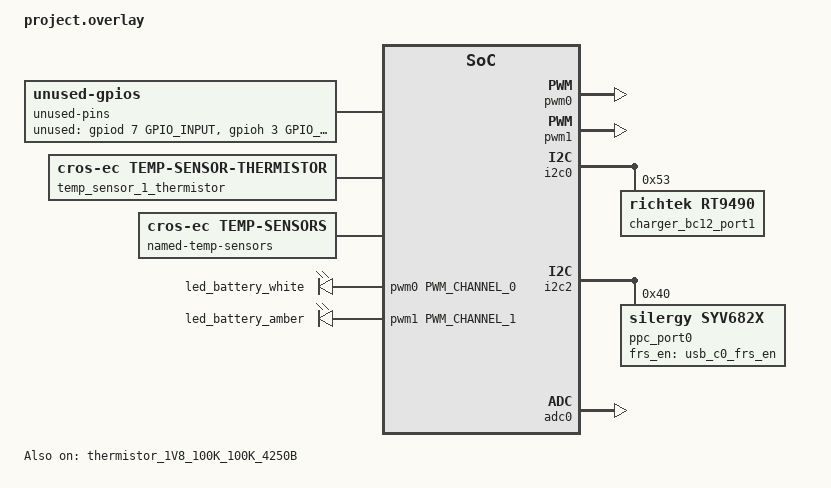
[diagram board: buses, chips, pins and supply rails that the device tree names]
/* Copyright 2023 The ChromiumOS Authors
 * Use of this source code is governed by a BSD-style license that can be
 * found in the LICENSE file.
 */

/* Corsola program common DTS includes */

#include "../common.dtsi"
#include "../power_signal.dtsi"
#include "../usba.dtsi"
#include "../ite_adc.dtsi"
#include "../ite_gpio.dtsi"
#include "../ite_keyboard.dtsi"
#include "../ite_i2c.dtsi"
#include "../ite_interrupts.dtsi"
/*Chinchou and Kingler use the same motionsense */
#include "../npcx_motionsense.dtsi"
#include "../ite_usbc.dtsi"
#include "../ite_shi.dtsi"
#include "thermistor.dtsi"

#include <cros/thermistor/thermistor.dtsi>
#include <dt-bindings/battery.h>

/ {
	aliases {
		lsm6dsm-int = &base_accel;
	};

	motionsense-sensor-info {
		compatible = "cros-ec,motionsense-sensor-info";

		/*
		 * list of GPIO interrupts that have to
		 * be enabled at initial stage
		 */
		sensor-irqs = <&int_base_imu>;

		accel-force-mode-sensors = <&lid_accel &alt_lid_accel>;
	};

	batteries {
		default_battery: c31n2005 {
			compatible = "smp,c31n2005", "battery-smart";
		};
	};
	/* Rotation matrix used by drivers. */
	motionsense-rotation-ref {
		compatible = "cros-ec,motionsense-rotation-ref";
		lid_rot_ref: lid-rotation-ref {
			mat33 = <0 (-1) 0
				 (-1) 0 0
				 0 0 (-1)>;
		};
		base_rot_ref: base-rotation-ref {
			mat33 = <0 1 0
				 1 0 0
				 0 0 (-1)>;
		};
		base_rot_ref_lsm6dsm: base-rotation-ref-lsm6dsm {
			mat33 = <(-1) 0 0
				 0 1 0
				 0 0 (-1)>;
		};
	};

	gpio-interrupts {
		/delete-node/ x_ec_gpio2;
		/delete-node/ usb_c1_bc12_charger;
		/delete-node/ lid_imu;

		int_base_imu: base_imu {
			irq-pin = <&base_imu_int_l>;
			flags = <GPIO_INT_EDGE_FALLING>;
			handler = "motion_interrupt";
		};
		int_x_ec_gpio2: x_ec_gpio2 {
			irq-pin = <&gpio_x_ec_gpio2>;
			flags = <GPIO_INT_EDGE_BOTH>;
			handler = "hdmi_hpd_interrupt";
		};
		int_usb_c0_ppc_bc12: usb_c0_ppc_bc12 {
			irq-pin = <&usb_c0_ppc_bc12_int_odl>;
			flags = <GPIO_INT_EDGE_FALLING>;
			handler = "c0_ppc_interrupt";
		};
		int_usb_c0_bc12_charger: usb_c0_bc12_charger {
			irq-pin = <&usb_c0_bc12_charger_int_odl>;
			flags = <GPIO_INT_EDGE_FALLING>;
			handler = "rt9490_bc12_dt_interrupt";
		};
	};

	named-gpios {
		compatible = "named-gpios";
		/delete-node/ entering_rw;
		/delete-node/ usb_c0_ppc_frsinfo;
		/delete-node/ usb_c1_bc12_charger_int_odl;
		/delete-node/ lid_accel_int_l;

		ec_en_pp3300_ucam: ec_en_pp3300_ucam{
			gpios = <&gpioa 2 GPIO_OUTPUT_HIGH>;
		};

		ec_en_u2hub: ec_en_u2hub{
			gpios = <&gpioa 3 GPIO_OUTPUT_HIGH>;
		};

		usb_a1_fault_odl: usb_a1_fault_odl {
			gpios = <&gpioa 6 GPIO_INPUT>;
		};

		en_pp5000_usb_a1_vbus_x: en_pp5000_usb_a1_vbus_x{
			gpios = <&gpioa 7 GPIO_OUTPUT_LOW>;
		};
		entering_rw: entering_rw {
			enum-name = "GPIO_ENTERING_RW";
		};
		usb_c0_bc12_charger_int_odl: usb_c0_bc12_charger_int_odl {
			gpios = <&gpioj 4 GPIO_INPUT>;
		};
		touchpad_en: touchpad_en {
			gpios = <&gpioh 2 GPIO_OUTPUT_HIGH>;
		};
		usb_c0_frs_en: usb_c0_frs_en {
			gpios = <&gpiof 0 GPIO_OUTPUT_LOW>;
			enum-name = "GPIO_USB_C0_FRS_EN";
		};
		pg_pp4200_s5_od: pg-pp4200-s5-od {
			gpios = <&gpioc 5 GPIO_INPUT>;
		};
	};

	unused-pins {
		compatible = "unused-gpios";

		unused-gpios =
			<&gpiod 7 GPIO_INPUT>,
			<&gpioh 3 GPIO_ODR_HIGH>,
			<&gpiod 2 GPIO_INPUT_PULL_DOWN>,
			<&gpiof 1 GPIO_INPUT_PULL_DOWN>,
			<&gpiog 2 GPIO_INPUT_PULL_DOWN>,
			<&gpioh 0 GPIO_INPUT_PULL_DOWN>,
			<&gpioh 1 GPIO_INPUT_PULL_DOWN>,
			<&gpioh 6 GPIO_INPUT_PULL_DOWN>,
			<&gpioi 1 GPIO_INPUT_PULL_DOWN>,
			<&gpioi 2 GPIO_INPUT_PULL_DOWN>,
			<&gpioi 3 GPIO_INPUT_PULL_DOWN>,
			<&gpioi 5 GPIO_INPUT_PULL_DOWN>,
			<&gpioi 6 GPIO_INPUT_PULL_DOWN>,
			<&gpiom 2 (GPIO_INPUT_PULL_DOWN | GPIO_VOLTAGE_1P8)>,
			<&gpiom 6 (GPIO_INPUT_PULL_DOWN | GPIO_VOLTAGE_1P8)>;
	};

	named-adc-channels {
		compatible = "named-adc-channels";

		adc_temp_sensor_1: adc-temp-sensor-1 {
			enum-name = "ADC_TEMP_SENSOR_1";
			io-channels = <&adc0 7>;
		};
	};

	temp_sensor_1_thermistor: sensor-1-thermistor {
		compatible = "cros-ec,temp-sensor-thermistor";
		thermistor = <&thermistor_1V8_100K_100K_4250B>;
		adc = <&adc_temp_sensor_1>;
	};

	named-temp-sensors {
		compatible = "cros-ec,temp-sensors";
		temp_sensor_1 {
			sensor = <&temp_sensor_1_thermistor>;
		};
		temp_charger: charger {
			sensor = <&charger_bc12_port1>;
		};
	};

	named-i2c-ports {
		compatible = "named-i2c-ports";

		/delete-node/ usb-c1;

		i2c_hdmi: i2c_hdmi {
			i2c-port = <&i2c4>;
			enum-names = "I2C_PORT_USB_C1",
				"I2C_PORT_USB_MUX1";
		};
	};

	cros-keyscan {
		compatible = "cros-ec,keyscan";

		actual-key-mask = <
			0x48	/* C0 */
			0xff	/* C1 */
			0xff	/* C2 */
			0xff	/* C3 */
			0xff	/* C4 */
			0xff	/* C5 */
			0xff	/* C6 */
			0xa4	/* C7 */
			0xff	/* C8 */
			0xff	/* C9 */
			0x55	/* C10 */
			0xff	/* C11 */
			0xff	/* C12 */
			0x40    /* C13 */
			0x0a    /* C14 */
		>;
	};

	Chinchou-fw-config {
		compatible = "cros-ec,cbi-fw-config";

		/*
		 * FW_CONFIG field to indicate the device is clamshell
		 * or convertible.
		 */
		form_factor {
			enum-name = "FORM_FACTOR";
			start = <13>;
			size = <3>;

			convertible {
				compatible = "cros-ec,cbi-fw-config-value";
				enum-name = "CONVERTIBLE";
				value = <1>;
			};
			clamshell {
				compatible = "cros-ec,cbi-fw-config-value";
				enum-name = "CLAMSHELL";
				value = <0>;
			};
		};

		/* FW_CONFIG field to indicate which DB is attached. */
		db_config: db {
			enum-name = "DB";
			start = <0>;
			size = <1>;

			sub-board-1 {
				compatible = "cros-ec,cbi-fw-config-value";
				enum-name = "DB_NONE";
				value = <0>;
			};
			sub-board-2 {
				compatible = "cros-ec,cbi-fw-config-value";
				enum-name = "DB_USBA_HDMI";
				value = <1>;
			};
		};
	};

	/* Chinchou-specific ssfc fields. */
	chinchou-ssfc {
		compatible = "cros-ec,cbi-ssfc";

		/* SSFC field to identify BASE motion sensor. */
		base-sensor {
			enum-name = "BASE_SENSOR";
			size = <3>;

			base_sensor_0: bmi323 {
				compatible = "cros-ec,cbi-ssfc-value";
				status = "okay";
				value = <1>;
				default;
			};
			base_sensor_1: lsm6dsm {
				compatible = "cros-ec,cbi-ssfc-value";
				status = "okay";
				value = <2>;
			};
		};

		/* SSFC field to identify LID motion sensor. */
		lid-sensor {
			enum-name = "LID_SENSOR";
			size = <3>;

			lid_sensor_0: bma422 {
				compatible = "cros-ec,cbi-ssfc-value";
				status = "okay";
				value = <1>;
				default;
			};
			lid_sensor_1: lis2dw12 {
				compatible = "cros-ec,cbi-ssfc-value";
				status = "okay";
				value = <2>;
			};
		};
	};

	/*
	 * Driver specific data. A driver-specific data can be shared with
	 * different motion sensors while they are using the same driver.
	 *
	 * If a node's compatible starts with "cros-ec,accelgyro-", it is for
	 * a common structure defined in accelgyro.h.
	 * e.g) compatible = "cros-ec,accelgyro-als-drv-data" is for
	 * "struct als_drv_data_t" in accelgyro.h
	 */
	motionsense-sensor-data {
		lis2dw12_data: lis2dw12-drv-data {
			compatible = "cros-ec,drvdata-lis2dw12";
			status = "okay";
		};
		lsm6dsm_data_accel: lsm6dsm-accel-drv-data {
			compatible = "cros-ec,drvdata-lsm6dsm";
			status = "okay";
		};
		lsm6dsm_data_gyro: lsm6dsm-gyro-drv-data {
			compatible = "cros-ec,drvdata-lsm6dsm";
			status = "okay";
		};
	};

	motionsense-sensor-alt {
		alt_lid_accel: alt-lid-accel {
			compatible = "cros-ec,lis2dw12";
			status = "okay";

			active-mask = "SENSOR_ACTIVE_S0_S3";
			location = "MOTIONSENSE_LOC_LID";
			mutex = <&lid_mutex>;
			port = <&i2c_sensor>;
			rot-standard-ref = <&lid_rot_ref>;
			default-range = <2>;
			drv-data = <&lis2dw12_data>;
			i2c-spi-addr-flags = "LIS2DWL_ADDR0_FLAGS";
			alternate-for = <&lid_accel>;
			alternate-ssfc-indicator = <&lid_sensor_1>;
			configs {
				compatible =
					"cros-ec,motionsense-sensor-config";
				ec-s0 {
					odr = <(12500 | ROUND_UP_FLAG)>;
				};
				ec-s3 {
					odr = <(12500 | ROUND_UP_FLAG)>;
				};
			};
		};

		alt_base_accel: alt-base-accel {
			compatible = "cros-ec,lsm6dsm-accel";
			status = "okay";

			active-mask = "SENSOR_ACTIVE_S0_S3";
			location = "MOTIONSENSE_LOC_BASE";
			mutex = <&base_mutex>;
			port = <&i2c_sensor>;
			rot-standard-ref = <&base_rot_ref_lsm6dsm>;
			drv-data = <&lsm6dsm_data_accel>;
			alternate-for = <&base_accel>;
			alternate-ssfc-indicator = <&base_sensor_1>;
			configs {
				compatible =
					"cros-ec,motionsense-sensor-config";
				ec-s0 {
					odr = <(12500 | ROUND_UP_FLAG)>;
					ec-rate = <(100 * USEC_PER_MSEC)>;
				};
				ec-s3 {
					odr = <(12500 | ROUND_UP_FLAG)>;
					ec-rate = <0>;
				};
			};
		};

		alt_base_gyro: alt-base-gyro {
			compatible = "cros-ec,lsm6dsm-gyro";
			status = "okay";

			active-mask = "SENSOR_ACTIVE_S0_S3";
			location = "MOTIONSENSE_LOC_BASE";
			mutex = <&base_mutex>;
			port = <&i2c_sensor>;
			rot-standard-ref = <&base_rot_ref_lsm6dsm>;
			default-range = <(1000 | ROUND_UP_FLAG)>; /* dps */
			drv-data = <&lsm6dsm_data_gyro>;
			alternate-for = <&base_gyro>;
			alternate-ssfc-indicator = <&base_sensor_1>;
		};
	};

	led-colors {
		compatible = "cros-ec,led-policy";

		bat-power-state-charge-1 {
			charge-state = "LED_PWRS_CHARGE";
			/* Battery display percent range (>= Empty, <= 94%) */
			batt-lvl = <BATTERY_LEVEL_EMPTY 94>;

			battery-led {
				led-id = "EC_LED_ID_BATTERY_LED";

				color-0 {
					led-color = "LED_AMBER";
				};
			};
		};

		bat-power-state-charge-2 {
			charge-state = "LED_PWRS_CHARGE";
			/* Battery display percent range (>= 95) */
			batt-lvl = <95 100>;

			battery-led {
				led-id = "EC_LED_ID_BATTERY_LED";

				color-0 {
					led-color = "LED_WHITE";
				};
			};
		};

		bat-power-state-near-full {
			charge-state = "LED_PWRS_CHARGE_NEAR_FULL";

			battery-led {
				led-id = "EC_LED_ID_BATTERY_LED";

				color-0 {
					led-color = "LED_WHITE";
				};
			};
		};

		bat-power-state-discharge-s0 {
			charge-state = "LED_PWRS_DISCHARGE";
			chipset-state = "POWER_S0";
			/* Battery display percent range (>= 11%, <= 100%) */
			batt-lvl = <(BATTERY_LEVEL_LOW + 1) BATTERY_LEVEL_FULL>;

			battery-led {
				led-id = "EC_LED_ID_BATTERY_LED";

				color-0 {
					led-color = "LED_WHITE";
				};
			};
		};

		bat-power-state-discharge-s3 {
			charge-state = "LED_PWRS_DISCHARGE";
			chipset-state = "POWER_S3";

			battery-led {
				led-id = "EC_LED_ID_BATTERY_LED";

				color-0 {
					led-color = "LED_WHITE";
					period-ms = <1000>;
				};
				color-1 {
					led-color = "LED_OFF";
					period-ms = <3000>;
				};
			};
		};

		bat-power-state-discharge-s5 {
			charge-state = "LED_PWRS_DISCHARGE";
			chipset-state = "POWER_S5";

			battery-led {
				led-id = "EC_LED_ID_BATTERY_LED";

				color-0 {
					led-color = "LED_OFF";
				};
			};
		};

		bat-power-state-discharge-s0-bat-low {
			charge-state = "LED_PWRS_DISCHARGE";
			chipset-state = "POWER_S0";
			/* Battery display percent range (>= 0, <= 10%) */
			batt-lvl = <BATTERY_LEVEL_EMPTY BATTERY_LEVEL_LOW>;

			battery-led {
				led-id = "EC_LED_ID_BATTERY_LED";

				color-0 {
					led-color = "LED_AMBER";
					period-ms = <1000>;
				};
				color-1 {
					led-color = "LED_OFF";
					period-ms = <3000>;
				};
			};
		};

		bat-power-state-s0-error {
			charge-state = "LED_PWRS_ERROR";
			chipset-state = "POWER_S0";

			battery-led {
				led-id = "EC_LED_ID_BATTERY_LED";

				color-0 {
					led-color = "LED_AMBER";
					period-ms = <1000>;
				};
				color-1 {
					led-color = "LED_OFF";
					period-ms = <1000>;
				};
			};
		};

		bat-power-state-s3-error {
			charge-state = "LED_PWRS_ERROR";
			chipset-state = "POWER_S3";

			battery-led {
				led-id = "EC_LED_ID_BATTERY_LED";

				color-0 {
					led-color = "LED_WHITE";
					period-ms = <1000>;
				};
				color-1 {
					led-color = "LED_OFF";
					period-ms = <3000>;
				};
			};
		};

		bat-power-state-s5-error {
			charge-state = "LED_PWRS_ERROR";
			chipset-state = "POWER_S5";

			battery-led {
				led-id = "EC_LED_ID_BATTERY_LED";

				color-0 {
					led-color = "LED_OFF";
				};
			};
		};

		/* Chinchou LED power idle, S5*/
		power-state-idle-s5 {
			charge-state = "LED_PWRS_IDLE";
			chipset-state = "POWER_S5";

			battery-led {
				led-id = "EC_LED_ID_BATTERY_LED";

				color-0 {
					led-color = "LED_OFF";
				};
			};
		};

		/* Chinchou LED power forced idle */
		power-state-forced-idle {
			charge-state = "LED_PWRS_FORCED_IDLE";

			battery-led {
				led-id = "EC_LED_ID_BATTERY_LED";

				color-0 {
					led-color = "LED_AMBER";
					period-ms = <2000>;
				};
				color-1 {
					led-color = "LED_WHITE";
					period-ms = <2000>;
				};
			};
		};

		/* Chinchou LED power idle, S0 */
		power-state-idle-s0 {
			charge-state = "LED_PWRS_IDLE";
			chipset-state = "POWER_S0";

			battery-led {
				led-id = "EC_LED_ID_BATTERY_LED";

				color-0 {
					led-color = "LED_WHITE";
				};
			};
		};

		/* Chinchou LED power idle, S3 */
		power-state-idle-s3 {
			charge-state = "LED_PWRS_IDLE";
			chipset-state = "POWER_S3";

			battery-led {
				led-id = "EC_LED_ID_BATTERY_LED";

				color-0 {
					led-color = "LED_WHITE";
				};
			};
		};
	};

	pwmleds {
		compatible = "pwm-leds";

		led_battery_white: ec_led1_odl {
			pwms = <&pwm0 PWM_CHANNEL_0 PWM_HZ(324) PWM_POLARITY_INVERTED>;
		};
		led_battery_amber: ec_led2_odl {
			pwms = <&pwm1 PWM_CHANNEL_1 PWM_HZ(324) PWM_POLARITY_INVERTED>;
		};
	};

	pwm-led-pins {
		compatible = "cros-ec,pwm-led-pins";

		combo_led: combo-led {
			led-id = "EC_LED_ID_BATTERY_LED";
			led-pwms = <&led_battery_amber &led_battery_white>;

			color-battery-off {
				led-color = "LED_OFF";
				led-values = <0 0>;
			};

			color-battery-amber {
				led-color = "LED_AMBER";
				led-values = <100 0>;
			};

			color-battery-white {
				led-color = "LED_WHITE";
				led-values = <0 100>;
			};
		};
	};

	usbc {
		port0@0 {
			bc12 = <&charger_bc12_port1>;
			ppc = <&ppc_port0>;
			};
		port1@1 {
			/delete-property/ bc12;
			/delete-property/ ppc;
			/delete-property/ tcpc;
			/delete-property/ usb-mux-chain-1-hdmi-db;

			usb-mux-chain-1 {
				compatible = "cros-ec,usb-mux-chain";
				usb-muxes = <&virtual_mux_1>;
			};
		};
	};
};

/* LED1-WHITE */
&pwm0 {
	status = "okay";
	prescaler-cx = <PWM_PRESCALER_C4>;
	pinctrl-0 = <&pwm0_gpa0_default>;
	pinctrl-names = "default";
};

/* LED2-Amber */
&pwm1 {
	status = "okay";
	prescaler-cx = <PWM_PRESCALER_C4>;
	pinctrl-0 = <&pwm1_gpa1_default>;
	pinctrl-names = "default";
};

&i2c0 {
	charger_bc12_port1: rt9490@53 {
		compatible = "richtek,rt9490";
		status = "okay";
		reg = <0x53>;
		irq = <&int_usb_c0_bc12_charger>;
		mivr = <4000>;
		thermistor = <&thermistor_rt9490>;
	};
};

&i2c2 {
	/delete-node/ rt1739@70;
	ppc_port0: syv682x@40 {
		compatible = "silergy,syv682x";
		status = "okay";
		reg = <0x40>;
		frs_en_gpio = <&usb_c0_frs_en>;
	};
};

&i2c4 {
	/delete-node/ syv682x@40;
	/delete-node/ tusb1064-mux-1@44;
};

&adc0 {
	status = "okay";
	pinctrl-0 = <&adc0_ch0_gpi0_default
		     &adc0_ch1_gpi1_default
		     &adc0_ch2_gpi2_default
		     &adc0_ch7_gpi7_default>;
	pinctrl-names = "default";
};

&thermistor_1V8_100K_100K_4250B{
	status = "okay";
};

/* chinchou usba port enable config */
&usba_port_enable_list {
	enable-pins = <&en_pp5000_usb_a0_vbus
		       &en_pp5000_usb_a1_vbus_x>;
};
